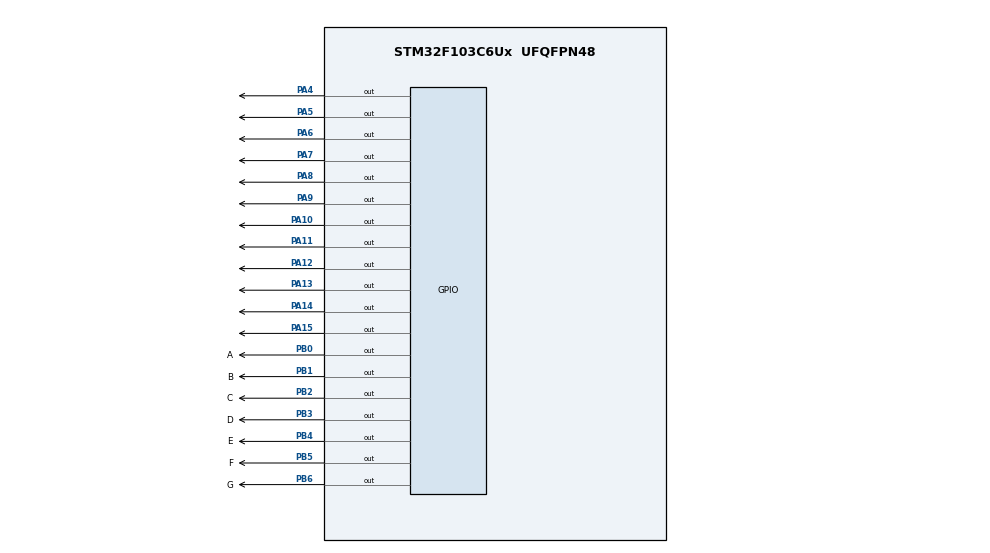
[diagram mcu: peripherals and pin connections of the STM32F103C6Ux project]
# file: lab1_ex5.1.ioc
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Mcu.Family=STM32F1
Mcu.Name=STM32F103C6Ux
Mcu.Package=UFQFPN48
NVIC.PriorityGroup=NVIC_PRIORITYGROUP_4
PA10.Signal=GPIO_Output
PA11.Signal=GPIO_Output
PA12.Signal=GPIO_Output
PA13.Signal=GPIO_Output
PA14.Signal=GPIO_Output
PA15.Signal=GPIO_Output
PA4.Signal=GPIO_Output
PA5.Signal=GPIO_Output
PA6.Signal=GPIO_Output
PA7.Signal=GPIO_Output
PA8.Signal=GPIO_Output
PA9.Signal=GPIO_Output
PB0.GPIO_Label=A
PB0.Signal=GPIO_Output
PB1.GPIO_Label=B
PB1.Signal=GPIO_Output
PB2.GPIO_Label=C
PB2.Signal=GPIO_Output
PB3.GPIO_Label=D
PB3.Signal=GPIO_Output
PB4.GPIO_Label=E
PB4.Signal=GPIO_Output
PB5.GPIO_Label=F
PB5.Signal=GPIO_Output
PB6.GPIO_Label=G
PB6.Signal=GPIO_Output
ProjectManager.HeapSize=0x200
ProjectManager.StackSize=0x400
ProjectManager.TargetToolchain=STM32CubeIDE
RCC.APB1Freq_Value=8000000
RCC.APB2Freq_Value=8000000
VP_SYS_VS_ND.Mode=No_Debug
board=custom

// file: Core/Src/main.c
/* USER CODE BEGIN Header */
/**
  ******************************************************************************
  * @file           : main.c
  * @brief          : Main program body
  ******************************************************************************
  * @attention
  *
  * <h2><center>&copy; Copyright (c) 2023 STMicroelectronics.
  * All rights reserved.</center></h2>
  *
  * This software component is licensed by ST under BSD 3-Clause license,
  * the "License"; You may not use this file except in compliance with the
  * License. You may obtain a copy of the License at:
  *                        opensource.org/licenses/BSD-3-Clause
  *
  ******************************************************************************
  */
/* USER CODE END Header */
#include "main.h"

void SystemClock_Config(void);
static void MX_GPIO_Init(void);
void display7SEG(int num);

int main(void)
{

  /* MCU Configuration--------------------------------------------------------*/

  /* Reset of all peripherals, Initializes the Flash interface and the Systick. */
  HAL_Init();

  /* Configure the system clock */
  SystemClock_Config();

  /* Initialize all configured peripherals */
  MX_GPIO_Init();
  /* USER CODE BEGIN 2 */
  int count = 5;
  int state = 0;
  HAL_GPIO_TogglePin(GPIOA, GPIO_PIN_4);
  HAL_GPIO_TogglePin(GPIOA, GPIO_PIN_6);
  HAL_GPIO_TogglePin(GPIOA, GPIO_PIN_7);
  HAL_GPIO_TogglePin(GPIOA, GPIO_PIN_9);
  HAL_GPIO_TogglePin(GPIOA, GPIO_PIN_11);
  HAL_GPIO_TogglePin(GPIOA, GPIO_PIN_12);
  HAL_GPIO_TogglePin(GPIOA, GPIO_PIN_14);
  HAL_GPIO_TogglePin(GPIOA, GPIO_PIN_15);
  /* USER CODE END 2 */

  /* Infinite loop */
  /* USER CODE BEGIN WHILE */
  while (1)
  {
	  if(state == 0 && count == 5){
		  HAL_GPIO_TogglePin(GPIOA, GPIO_PIN_4);
		  HAL_GPIO_TogglePin(GPIOA, GPIO_PIN_5);
		  HAL_GPIO_TogglePin(GPIOA, GPIO_PIN_7);
		  HAL_GPIO_TogglePin(GPIOA, GPIO_PIN_8);
		  HAL_GPIO_TogglePin(GPIOA, GPIO_PIN_10);
		  HAL_GPIO_TogglePin(GPIOA, GPIO_PIN_12);
		  HAL_GPIO_TogglePin(GPIOA, GPIO_PIN_13);
		  HAL_GPIO_TogglePin(GPIOA, GPIO_PIN_15);
	  }
	  if(state == 1 && count == 2){
		  HAL_GPIO_TogglePin(GPIOA, GPIO_PIN_11);
		  HAL_GPIO_TogglePin(GPIOA, GPIO_PIN_12);
		  HAL_GPIO_TogglePin(GPIOA, GPIO_PIN_14);
		  HAL_GPIO_TogglePin(GPIOA, GPIO_PIN_15);
	  }
	  if(state == 2 && count == 3){
		  HAL_GPIO_TogglePin(GPIOA, GPIO_PIN_4);
		  HAL_GPIO_TogglePin(GPIOA, GPIO_PIN_6);
		  HAL_GPIO_TogglePin(GPIOA, GPIO_PIN_7);
		  HAL_GPIO_TogglePin(GPIOA, GPIO_PIN_9);
		  HAL_GPIO_TogglePin(GPIOA, GPIO_PIN_10);
		  HAL_GPIO_TogglePin(GPIOA, GPIO_PIN_11);
		  HAL_GPIO_TogglePin(GPIOA, GPIO_PIN_13);
		  HAL_GPIO_TogglePin(GPIOA, GPIO_PIN_14);
	  }
	  if(state == 3 && count == 2){
		  HAL_GPIO_TogglePin(GPIOA, GPIO_PIN_5);
		  HAL_GPIO_TogglePin(GPIOA, GPIO_PIN_6);
		  HAL_GPIO_TogglePin(GPIOA, GPIO_PIN_8);
		  HAL_GPIO_TogglePin(GPIOA, GPIO_PIN_9);
	  }
    /* USER CODE END WHILE */
	  display7SEG(count--);
	  if(count <= -1 && state == 0){
		  count = 2;
		  state++;
	  }
	  if(count <= -1 && state == 1){
		  count = 3;
		  state++;
	  }
	  if(count <= -1 && state == 2){
		  count = 2;
		  state++;
	  }
	  if(count <= -1 && state == 3){
		  count = 5;
		  state = 0;
	  }
	  HAL_Delay(1000);
  }
}

void SystemClock_Config(void)
{
  RCC_OscInitTypeDef RCC_OscInitStruct = {0};
  RCC_ClkInitTypeDef RCC_ClkInitStruct = {0};

  /** Initializes the RCC Oscillators according to the specified parameters
  * in the RCC_OscInitTypeDef structure.
  */
  RCC_OscInitStruct.OscillatorType = RCC_OSCILLATORTYPE_HSI;
  RCC_OscInitStruct.HSIState = RCC_HSI_ON;
  RCC_OscInitStruct.HSICalibrationValue = RCC_HSICALIBRATION_DEFAULT;
  RCC_OscInitStruct.PLL.PLLState = RCC_PLL_NONE;
  if (HAL_RCC_OscConfig(&RCC_OscInitStruct) != HAL_OK)
  {
    Error_Handler();
  }
  /** Initializes the CPU, AHB and APB buses clocks
  */
  RCC_ClkInitStruct.ClockType = RCC_CLOCKTYPE_HCLK|RCC_CLOCKTYPE_SYSCLK
                              |RCC_CLOCKTYPE_PCLK1|RCC_CLOCKTYPE_PCLK2;
  RCC_ClkInitStruct.SYSCLKSource = RCC_SYSCLKSOURCE_HSI;
  RCC_ClkInitStruct.AHBCLKDivider = RCC_SYSCLK_DIV1;
  RCC_ClkInitStruct.APB1CLKDivider = RCC_HCLK_DIV1;
  RCC_ClkInitStruct.APB2CLKDivider = RCC_HCLK_DIV1;

  if (HAL_RCC_ClockConfig(&RCC_ClkInitStruct, FLASH_LATENCY_0) != HAL_OK)
  {
    Error_Handler();
  }
}

static void MX_GPIO_Init(void)
{
  GPIO_InitTypeDef GPIO_InitStruct = {0};

  /* GPIO Ports Clock Enable */
  __HAL_RCC_GPIOA_CLK_ENABLE();
  __HAL_RCC_GPIOB_CLK_ENABLE();

  /*Configure GPIO pin Output Level */
  HAL_GPIO_WritePin(GPIOA, GPIO_PIN_4|GPIO_PIN_5|GPIO_PIN_6|GPIO_PIN_7
                          |GPIO_PIN_8|GPIO_PIN_9|GPIO_PIN_10|GPIO_PIN_11
                          |GPIO_PIN_12|GPIO_PIN_13|GPIO_PIN_14|GPIO_PIN_15, GPIO_PIN_RESET);

  /*Configure GPIO pin Output Level */
  HAL_GPIO_WritePin(GPIOB, A_Pin|B_Pin|C_Pin|D_Pin
                          |E_Pin|F_Pin|G_Pin, GPIO_PIN_RESET);

  /*Configure GPIO pins : PA4 PA5 PA6 PA7
                           PA8 PA9 PA10 PA11
                           PA12 PA13 PA14 PA15 */
  GPIO_InitStruct.Pin = GPIO_PIN_4|GPIO_PIN_5|GPIO_PIN_6|GPIO_PIN_7
                          |GPIO_PIN_8|GPIO_PIN_9|GPIO_PIN_10|GPIO_PIN_11
                          |GPIO_PIN_12|GPIO_PIN_13|GPIO_PIN_14|GPIO_PIN_15;
  GPIO_InitStruct.Mode = GPIO_MODE_OUTPUT_PP;
  GPIO_InitStruct.Pull = GPIO_NOPULL;
  GPIO_InitStruct.Speed = GPIO_SPEED_FREQ_LOW;
  HAL_GPIO_Init(GPIOA, &GPIO_InitStruct);

  /*Configure GPIO pins : A_Pin B_Pin C_Pin D_Pin
                           E_Pin F_Pin G_Pin */
  GPIO_InitStruct.Pin = A_Pin|B_Pin|C_Pin|D_Pin
                          |E_Pin|F_Pin|G_Pin;
  GPIO_InitStruct.Mode = GPIO_MODE_OUTPUT_PP;
  GPIO_InitStruct.Pull = GPIO_NOPULL;
  GPIO_InitStruct.Speed = GPIO_SPEED_FREQ_LOW;
  HAL_GPIO_Init(GPIOB, &GPIO_InitStruct);

}

/* USER CODE BEGIN 4 */
void display7SEG(int num){
	switch(num){
	case 0:
		HAL_GPIO_WritePin(GPIOB,A_Pin, RESET);
		HAL_GPIO_WritePin(GPIOB,B_Pin, RESET);
		HAL_GPIO_WritePin(GPIOB,C_Pin, RESET);
		HAL_GPIO_WritePin(GPIOB,D_Pin, RESET);
		HAL_GPIO_WritePin(GPIOB,E_Pin, RESET);
		HAL_GPIO_WritePin(GPIOB,F_Pin, RESET);
		HAL_GPIO_WritePin(GPIOB,G_Pin, SET);
		break;
	case 1:
		HAL_GPIO_WritePin(GPIOB,A_Pin, SET);
		HAL_GPIO_WritePin(GPIOB,B_Pin, RESET);
		HAL_GPIO_WritePin(GPIOB,C_Pin, RESET);
		HAL_GPIO_WritePin(GPIOB,D_Pin, SET);
		HAL_GPIO_WritePin(GPIOB,E_Pin, SET);
		HAL_GPIO_WritePin(GPIOB,F_Pin, SET);
		HAL_GPIO_WritePin(GPIOB,G_Pin, SET);
		break;
	case 2:
		HAL_GPIO_WritePin(GPIOB,A_Pin, RESET);
		HAL_GPIO_WritePin(GPIOB,B_Pin, RESET);
		HAL_GPIO_WritePin(GPIOB,C_Pin, SET);
		HAL_GPIO_WritePin(GPIOB,D_Pin, RESET);
		HAL_GPIO_WritePin(GPIOB,E_Pin, RESET);
		HAL_GPIO_WritePin(GPIOB,F_Pin, SET);
		HAL_GPIO_WritePin(GPIOB,G_Pin, RESET);
		break;
	case 3:
		HAL_GPIO_WritePin(GPIOB,A_Pin, RESET);
		HAL_GPIO_WritePin(GPIOB,B_Pin, RESET);
		HAL_GPIO_WritePin(GPIOB,C_Pin, RESET);
		HAL_GPIO_WritePin(GPIOB,D_Pin, RESET);
		HAL_GPIO_WritePin(GPIOB,E_Pin, SET);
		HAL_GPIO_WritePin(GPIOB,F_Pin, SET);
		HAL_GPIO_WritePin(GPIOB,G_Pin, RESET);
		break;
	case 4:
		HAL_GPIO_WritePin(GPIOB,A_Pin, SET);
		HAL_GPIO_WritePin(GPIOB,B_Pin, RESET);
		HAL_GPIO_WritePin(GPIOB,C_Pin, RESET);
		HAL_GPIO_WritePin(GPIOB,D_Pin, SET);
		HAL_GPIO_WritePin(GPIOB,E_Pin, SET);
		HAL_GPIO_WritePin(GPIOB,F_Pin, RESET);
		HAL_GPIO_WritePin(GPIOB,G_Pin, RESET);
		break;
	case 5:
		HAL_GPIO_WritePin(GPIOB,A_Pin, RESET);
		HAL_GPIO_WritePin(GPIOB,B_Pin, SET);
		HAL_GPIO_WritePin(GPIOB,C_Pin, RESET);
		HAL_GPIO_WritePin(GPIOB,D_Pin, RESET);
		HAL_GPIO_WritePin(GPIOB,E_Pin, SET);
		HAL_GPIO_WritePin(GPIOB,F_Pin, RESET);
		HAL_GPIO_WritePin(GPIOB,G_Pin, RESET);
		break;
	case 6:
		HAL_GPIO_WritePin(GPIOB,A_Pin, RESET);
		HAL_GPIO_WritePin(GPIOB,B_Pin, SET);
		HAL_GPIO_WritePin(GPIOB,C_Pin, RESET);
		HAL_GPIO_WritePin(GPIOB,D_Pin, RESET);
		HAL_GPIO_WritePin(GPIOB,E_Pin, RESET);
		HAL_GPIO_WritePin(GPIOB,F_Pin, RESET);
		HAL_GPIO_WritePin(GPIOB,G_Pin, RESET);
		break;
	case 7:
		HAL_GPIO_WritePin(GPIOB,A_Pin, RESET);
		HAL_GPIO_WritePin(GPIOB,B_Pin, RESET);
		HAL_GPIO_WritePin(GPIOB,C_Pin, RESET);
		HAL_GPIO_WritePin(GPIOB,D_Pin, SET);
		HAL_GPIO_WritePin(GPIOB,E_Pin, SET);
		HAL_GPIO_WritePin(GPIOB,F_Pin, SET);
		HAL_GPIO_WritePin(GPIOB,G_Pin, SET);
		break;
	case 8:
		HAL_GPIO_WritePin(GPIOB,A_Pin, RESET);
		HAL_GPIO_WritePin(GPIOB,B_Pin, RESET);
		HAL_GPIO_WritePin(GPIOB,C_Pin, RESET);
		HAL_GPIO_WritePin(GPIOB,D_Pin, RESET);
		HAL_GPIO_WritePin(GPIOB,E_Pin, RESET);
		HAL_GPIO_WritePin(GPIOB,F_Pin, RESET);
		HAL_GPIO_WritePin(GPIOB,G_Pin, RESET);
		break;
	case 9:
		HAL_GPIO_WritePin(GPIOB,A_Pin, RESET);
		HAL_GPIO_WritePin(GPIOB,B_Pin, RESET);
		HAL_GPIO_WritePin(GPIOB,C_Pin, RESET);
		HAL_GPIO_WritePin(GPIOB,D_Pin, RESET);
		HAL_GPIO_WritePin(GPIOB,E_Pin, SET);
		HAL_GPIO_WritePin(GPIOB,F_Pin, RESET);
		HAL_GPIO_WritePin(GPIOB,G_Pin, RESET);
		break;
	}
}
/* USER CODE END 4 */

void Error_Handler(void)
{
  __disable_irq();
  while (1)
  {
  }
}

/************************ (C) COPYRIGHT STMicroelectronics *****END OF FILE****/
